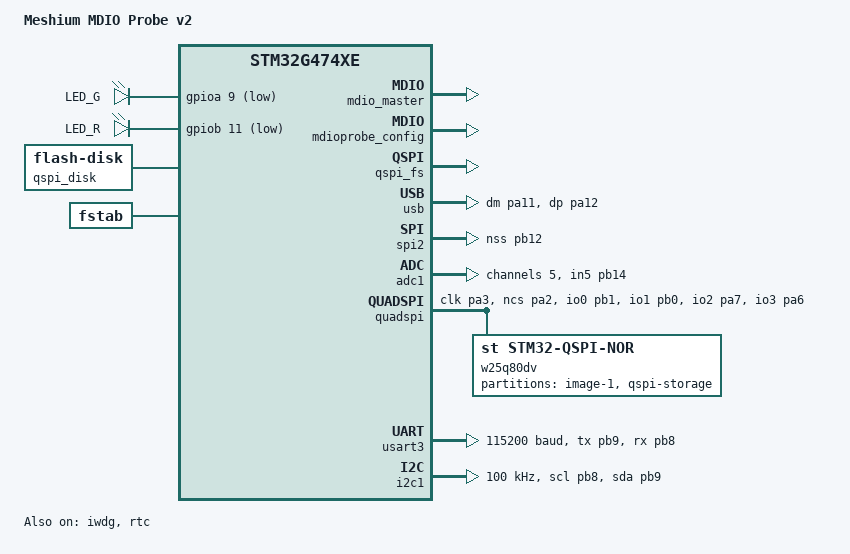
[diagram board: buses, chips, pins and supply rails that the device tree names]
/*
 * Copyright (c) 2026 Meshium
 *               Aleksandr Senin <al@meshium.net>
 *
 * SPDX-License-Identifier: Apache-2.0
 *
 * MDIO Probe v2 — STM32G474CET6 (LQFP48), custom carrier board.
 *
 * Capture path pin assignment is identical to the mdioprobe_g474 bring-up
 * board; what were jumper wires there are PCB traces here:
 *
 *   PA0 (COMP1_OUT, MDC digital)  --trace--> PB13 (SPI2_SCK)
 *   PA8 (COMP7_OUT, MDIO digital) --trace--> PB15 (SPI2_MOSI)
 *   PA10 (HRTIM1_CHB1, NSS latch) --trace--> PB12 (SPI2_NSS)
 *
 * Everything on the capture chain (COMP1/COMP7, DAC3/DAC4 thresholds,
 * TIM3 one-pulse counter, HRTIM SR-latch, SPI2 slave + DMA1) is set up
 * from LL code, not from DT — see docs/CAPTURE.md.
 */

/dts-v1/;
#include <st/g4/stm32g474Xe.dtsi>
#include <st/g4/stm32g474c(b-c-e)tx-pinctrl.dtsi>
#include <zephyr/dt-bindings/gpio/gpio.h>
#include <zephyr/dt-bindings/adc/adc.h>
#include <zephyr/dt-bindings/i2c/i2c.h>

/ {
	model = "Meshium MDIO Probe v2";
	compatible = "meshium,mdioprobe-v2";

	chosen {
		zephyr,sram = &sram0;
		zephyr,flash = &flash0;
		/*
		 * No VCP on this board: the console is a USB CDC ACM port.
		 * Declared here rather than by the `cdc-acm-console` snippet,
		 * because the firmware builds its own USB device — it has to
		 * be able to tear CDC down and come back as mass storage, and
		 * the snippet only ever registers CDC.
		 */
		zephyr,console = &cdc_acm_console;
	};

	/*
	 * Colours verified on hardware 2026-07-22: the initial pinout notes
	 * had them the other way round (PA9=R, PB11=G) — the board actually
	 * wires PA9 to green and PB11 to red.
	 */
	leds: leds {
		compatible = "gpio-leds";

		green_led: led_g {
			gpios = <&gpioa 9 GPIO_ACTIVE_LOW>;
			label = "LED_G";
		};

		red_led: led_r {
			gpios = <&gpiob 11 GPIO_ACTIVE_LOW>;
			label = "LED_R";
		};
	};

	aliases {
		led0 = &green_led;
		led1 = &red_led;
		watchdog0 = &iwdg;
		die-temp0 = &die_temp;
		volt-sensor0 = &vref;
		volt-sensor1 = &vbat;
	};

	/*
	 * Bitbang Clause-22 master (the "generate" half of the probe).
	 *
	 * MDC leaves the board through an external tri-state buffer:
	 *   MDC_EN  (PB6, active LOW) enables the buffer output;
	 *   MDC_OUT (PB7) is the bitbang clock fed into the buffer input.
	 * The buffer is powered from the programmable translator supply
	 * (see mdioprobe_vreg.c) so MDC swings at the target's logic level.
	 * Its output also loops back to PA1/COMP1, so the sniffer's clock
	 * front end sees the probe's own MDC.
	 *
	 * MDIO is split: PB8 drives the line (open-drain, no pull, parked
	 * as Analog while receiving so it cannot load the bus), while the
	 * read-back path is the *sniffer* front end — PB14 → COMP7, whose
	 * digital output the master samples. Reading through the comparator
	 * means the master works at whatever logic level the target uses,
	 * with the same DAC threshold the capture path was calibrated to.
	 */
	mdio_master: mdio_master {
		compatible = "mdioprobe,mdio-master";
		status = "okay";
		mdc-gpios = <&gpiob 7 GPIO_ACTIVE_HIGH>;
		/*
		 * Open-drain: a 4.7 kΩ pull-up to VREG (the buffer's supply)
		 * makes the inactive level. Driving it push-pull would
		 * back-power the VREG rail from the 3.3 V domain.
		 */
		mdc-en-gpios = <&gpiob 6 (GPIO_ACTIVE_LOW | GPIO_OPEN_DRAIN)>;
		mdio-out-gpios = <&gpiob 8 (GPIO_ACTIVE_HIGH | GPIO_OPEN_DRAIN)>;
	};

	mdioprobe_config {
		compatible = "mdioprobe,config";
		/*
		 * MDIO idle-voltage sense. PB14 is shared three ways:
		 * ADC1_IN5 (this channel), COMP7_INP (sniffer) and the
		 * bitbang master's read-back. All three are read-only —
		 * the pin stays Analog at all times.
		 */
		io-channels = <&adc1 5>;
		io-channel-names = "mdio_adc";
		/*
		 * PHY_RST on the target connector: open-drain, no pull —
		 * the line must be pulled up by the target's own supply.
		 */
		target-reset-gpios = <&gpiob 5 (GPIO_ACTIVE_LOW | GPIO_OPEN_DRAIN)>;
	};

};

&clk_hsi {
	status = "okay";
};

/*
 * No crystal on the board: HSI16 feeds the PLL for the 170 MHz core
 * clock, and the USB FS peripheral runs off HSI48.
 *
 * HSI48 free-running is only ~±3 % over temperature, which is outside
 * the ±0.25 % USB FS requires. `src/mdioprobe_usb.c` enables the CRS
 * peripheral to auto-trim HSI48 against USB SOF packets — Zephyr's G4
 * clock driver does not do this for us.
 */
&clk_hsi48 {
	status = "okay";
};

&pll {
	div-m = <4>;
	mul-n = <85>;
	div-p = <2>;
	div-q = <2>;
	div-r = <2>;
	clocks = <&clk_hsi>;
	status = "okay";
};

&rcc {
	clocks = <&pll>;
	clock-frequency = <DT_FREQ_M(170)>;
	ahb-prescaler = <1>;
	apb1-prescaler = <1>;
	apb2-prescaler = <1>;
};

zephyr_udc0: &usb {
	cdc_acm_console: cdc_acm_console {
		compatible = "zephyr,cdc-acm-uart";
	};

	pinctrl-0 = <&usb_dm_pa11 &usb_dp_pa12>;
	pinctrl-names = "default";
	status = "okay";
};

/*
 * Drop the default internal pull-down from SPI2 SCK/MOSI. The bus is
 * push-pull driven on-die by COMP1_OUT (PA0) and COMP7_OUT (PA8) through
 * short PCB traces; a ~40 kΩ pull-down would skew rising edges at
 * multi-MHz MDC. NSS keeps its pull-up — the HRTIM latch (POL1=1) rests
 * it inactive HIGH between frames.
 */
&pinctrl {
	spi2_sck_pb13_nopull: spi2_sck_pb13_nopull {
		pinmux = <STM32_PINMUX('B', 13, AF5)>;
		slew-rate = "very-high-speed";
	};

	spi2_mosi_pb15_nopull: spi2_mosi_pb15_nopull {
		pinmux = <STM32_PINMUX('B', 15, AF5)>;
		slew-rate = "very-high-speed";
	};
};

/*
 * SPI2 slave = the capture engine. The Zephyr driver is enabled only so
 * its init applies this pinctrl group (PB12/PB13/PB15 → AF5); the API is
 * never called. src/mdioprobe_mdio_api.c programs SPI2 + DMA1_Channel1 +
 * DMAMUX1 directly. Note PB14 is deliberately NOT listed — on this board
 * it is the analog MDIO sense pin, not SPI2_MISO.
 */
&spi2 {
	pinctrl-0 = <&spi2_sck_pb13_nopull &spi2_mosi_pb15_nopull &spi2_nss_pb12>;
	pinctrl-names = "default";
	status = "okay";
};

&adc1 {
	pinctrl-0 = <&adc1_in5_pb14>;
	pinctrl-names = "default";
	/* AHB/4 = 42.5 MHz, comfortably under the 60 MHz ADC ceiling. */
	st,adc-clock-source = "SYNC";
	st,adc-prescaler = <4>;
	status = "okay";
	#address-cells = <1>;
	#size-cells = <0>;

	/* PB14 = ADC1_IN5 — MDIO idle level (also COMP7_INP@INPSEL=0). */
	channel@5 {
		reg = <5>;
		zephyr,gain = "ADC_GAIN_1";
		zephyr,reference = "ADC_REF_INTERNAL";
		zephyr,acquisition-time = <ADC_ACQ_TIME_DEFAULT>;
		zephyr,resolution = <12>;
	};
};

/*
 * ADC2_IN12 (PB2, translator Vout sense) and DAC1_CH1 (PA4, MOSFET gate)
 * are driven from LL inside src/mdioprobe_vreg.c — the 10 kHz control
 * loop needs direct register access, so no Zephyr ADC/DAC node here.
 * DAC3_CH1 / DAC4_CH1 (comparator thresholds) are internal-only on G4:
 * no pin, no pinctrl, configured from src/mdioprobe_adc_dac.c.
 */

/*
 * QSPI NOR: Winbond W25Q80DVSNIG, 8 Mbit, on bank 1.
 *   PA3 CLK, PA2 NCS, PB1 IO0, PB0 IO1, PA7 IO2, PA6 IO3.
 */
/ {
	/*
	 * Block device over the storage partition, and the FAT volume on it.
	 *
	 * The volume is called "flash" because that is what it is — a NOR
	 * flash chip. FatFs only takes volume strings from a built-in list
	 * unless custom ones are declared, so prj.conf declares this one
	 * rather than borrowing "NAND", which would be wrong about the part.
	 * cache-size matches the chip's 4 KiB erase block — the flash-disk
	 * layer needs a whole block to do read-modify-write.
	 *
	 * Zephyr mounts it (automount) so the volume is available to C as
	 * well; MicroPython then wraps the same mount through
	 * zephyr.FileSystem, which is what makes `import` and `open()` work
	 * over it.
	 */
	qspi_disk: qspi_disk {
		compatible = "zephyr,flash-disk";
		partition = <&qspi_storage_partition>;
		disk-name = "flash";
		cache-size = <4096>;
	};

	fstab {
		compatible = "zephyr,fstab";

		qspi_fs: qspi_fs {
			compatible = "zephyr,fstab,fatfs";
			mount-point = "/flash:";
			disk-access;
			automount;
		};
	};
};

&quadspi {
	pinctrl-0 = <&quadspi1_clk_pa3 &quadspi1_bk1_ncs_pa2
		     &quadspi1_bk1_io0_pb1 &quadspi1_bk1_io1_pb0
		     &quadspi1_bk1_io2_pa7 &quadspi1_bk1_io3_pa6>;
	pinctrl-names = "default";
	status = "okay";

	w25q80dv: qspi-nor-flash@90000000 {
		compatible = "st,stm32-qspi-nor";
		reg = <0x90000000 DT_SIZE_M(1)>;
		size = <DT_SIZE_M(8)>;      /* bits */
		qspi-max-frequency = <80000000>;
		spi-bus-width = <4>;

		/*
		 * Page program opcode. REQUIRED here — the default is wrong for
		 * this chip and fails silently.
		 *
		 * SFDP carries no information about quad program opcodes, so the
		 * st,stm32-qspi-nor driver assumes a device that reads 1-4-4 also
		 * programs 1-4-4 and issues 0x38. The W25Q80DV does read 1-4-4
		 * (0xEB) but its only quad program is 0x32 (1-1-4); 0x38 is not a
		 * program instruction on this part at all. QSPI has no completion
		 * status, so the write returns success and nothing reaches the
		 * die — `flash write` reported "Write OK. Verification ERROR!"
		 * and the sector stayed 0xFF (2026-07-30).
		 */
		writeoc = "PP_1_1_4";

		status = "okay";

		partitions {
			compatible = "fixed-partitions";
			#address-cells = <1>;
			#size-cells = <1>;

			/*
			 * Reserved for a future MCUboot secondary slot.
			 *
			 * It has to be a raw partition: the bootloader reads and
			 * erases slots through flash_area and knows nothing about
			 * filesystems, so an image cannot live as a file. The FAT
			 * volume below is only ever the transport — a host drops
			 * the image on it over USB MSD and the firmware copies it
			 * in here.
			 *
			 * Internal flash cannot hold a second slot (512 KB total
			 * against an image already past 220 KB with MicroPython),
			 * so the slot has to be out here regardless. Sized now
			 * rather than later because repartitioning destroys the
			 * FAT volume and everything the user put on it.
			 */
			qspi_slot1_partition: partition@0 {
				label = "image-1";
				reg = <0x00000000 DT_SIZE_K(384)>;
			};

			/* Scripts and logs. FAT so a host can read it directly. */
			qspi_storage_partition: partition@60000 {
				label = "qspi-storage";
				reg = <0x00060000 DT_SIZE_K(640)>;
			};
		};
	};
};

/*
 * Alternate serial personalities of the target connector:
 *
 *   PB9 = USART3_TX / I2C1_SDA
 *   PB8 = USART3_RX / I2C1_SCL
 *
 * Both pins go straight to the connector, bypassing the MDC buffer — so
 * the serial personalities are fixed 3.3 V with no level translation, and
 * I2C1_SDA stays bidirectional end to end. The buffer must be off in these
 * modes or it would fight PB9 on the shared connector line.
 *
 * Both nodes are enabled so their drivers exist, but mdioprobe_serial.c
 * parks them in the "sleep" (Analog) pinctrl state at boot and only applies
 * "default" to the personality that is actually selected. In MDIO mode
 * neither peripheral may touch PB8/PB9 — anything driving those pins loads
 * the bus the analog front end is measuring.
 */
&usart3 {
	pinctrl-0 = <&usart3_tx_pb9 &usart3_rx_pb8>;
	pinctrl-1 = <&analog_pb9 &analog_pb8>;
	pinctrl-names = "default", "sleep";
	current-speed = <115200>;
	status = "okay";
};

&i2c1 {
	pinctrl-0 = <&i2c1_scl_pb8 &i2c1_sda_pb9>;
	pinctrl-1 = <&analog_pb8 &analog_pb9>;
	pinctrl-names = "default", "sleep";
	clock-frequency = <I2C_BITRATE_STANDARD>;
	status = "okay";
};

&iwdg {
	status = "okay";
};

&rtc {
	clocks = <&rcc STM32_CLOCK(APB1, 10)>,
		 <&rcc STM32_SRC_LSI RTC_SEL(2)>;
	status = "okay";
};

&clk_lsi {
	status = "okay";
};

&flash0 {
	partitions {
		compatible = "fixed-partitions";
		#address-cells = <1>;
		#size-cells = <1>;

		/*
		 * No bootloader yet, and no zephyr,code-partition chosen —
		 * the image links against the whole 512 KB. This entry only
		 * documents the intended split; the last 32 KB are reserved
		 * for settings/NVS.
		 */
		app_partition: partition@0 {
			label = "image-0";
			reg = <0x00000000 DT_SIZE_K(480)>;
		};

		storage_partition: partition@78000 {
			label = "storage";
			reg = <0x00078000 DT_SIZE_K(32)>;
		};
	};
};
